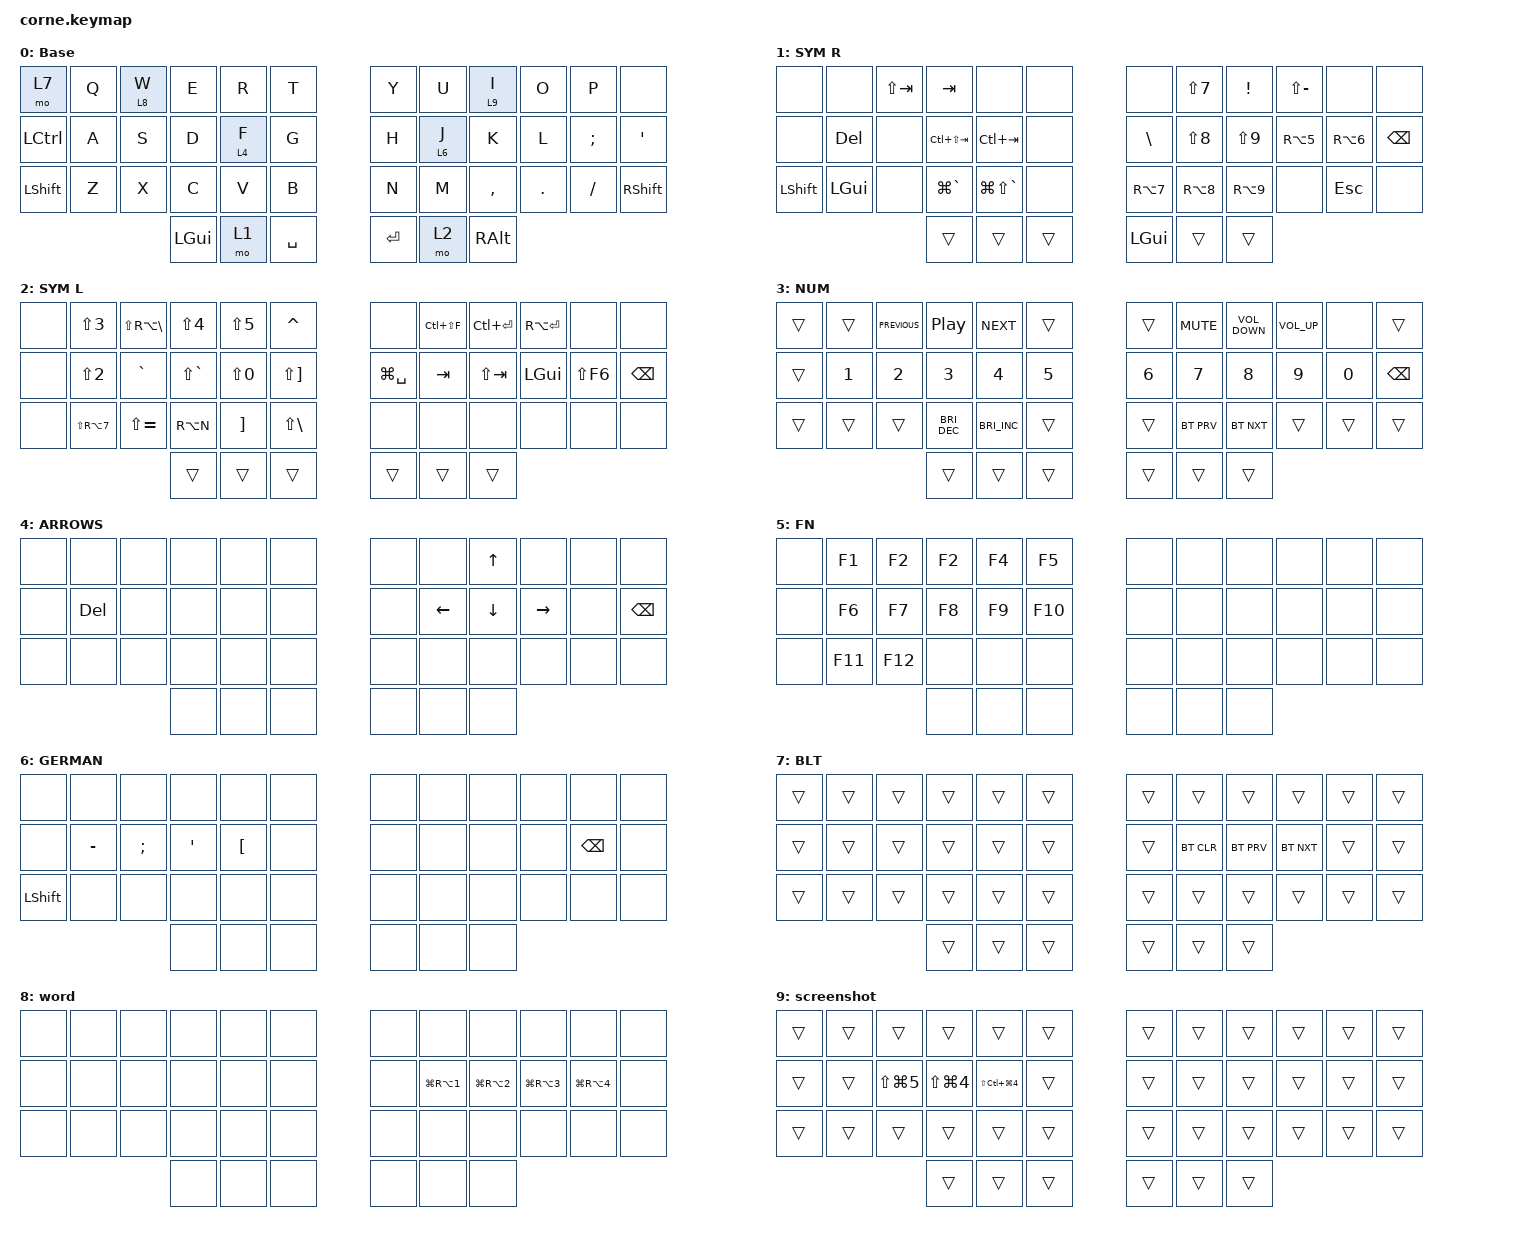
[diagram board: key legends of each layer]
/*
 * Copyright (c) 2020 The ZMK Contributors
 *
 * SPDX-License-Identifier: MIT
 */

#include <behaviors.dtsi>
#include <dt-bindings/zmk/bt.h>
#include <dt-bindings/zmk/keys.h>

/ {
    combos {
        compatible = "zmk,combos";

        functionkeys {
            bindings = <&mo 5>;
            key-positions = <19 20>;
        };

        option_save {
            bindings = <&kp LC(S)>;
            key-positions = <14 15>;
        };
    };

    keymap {
        compatible = "zmk,keymap";

        base {
            // -----------------------------------------------------------------------------------------
            // |  TAB |  Q  |  W  |  E  |  R  |  T  |   |  Y  |  U   |  I  |  O  |  P  | BKSP |
            // | CTRL |  A  |  S  |  D  |  F  |  G  |   |  H  |  J   |  K  |  L  |  ;  |  '   |
            // | SHFT |  Z  |  X  |  C  |  V  |  B  |   |  N  |  M   |  ,  |  .  |  /  | ESC  |
            //                    | GUI | LWR | SPC |   | ENT | RSE  | ALT |

            bindings = <
&mo 7      &kp Q  &lt 8 W  &kp E     &kp R    &kp T        &kp Y    &kp U    &lt 9 I    &kp O    &kp P      &none
&kp LCTRL  &kp A  &kp S    &kp D     &lt 4 F  &kp G        &kp H    &lt 6 J  &kp K      &kp L    &kp SEMI   &kp SQT
&kp LSHFT  &kp Z  &kp X    &kp C     &kp V    &kp B        &kp N    &kp M    &kp COMMA  &kp DOT  &kp SLASH  &kp RIGHT_SHIFT
                           &kp LGUI  &mo 1    &kp SPACE    &kp RET  &mo 2    &kp RALT
            >;

            label = "Base";
        };

        symr {
            bindings = <
&none           &none         &kp LS(TAB)  &kp TAB          &none              &none     &none          &kp LS(N7)  &kp EXCLAMATION  &kp LS(MINUS)  &none             &none
&none           &kp DELETE    &none        &kp LC(LS(TAB))  &kp LC(TAB)        &none     &kp BACKSLASH  &kp LS(N8)  &kp LS(N9)       &kp RA(N5)     &kp RA(NUMBER_6)  &kp BACKSPACE
&kp LEFT_SHIFT  &kp LEFT_GUI  &none        &kp LG(GRAVE)    &kp LG(LS(GRAVE))  &none     &kp RA(N7)     &kp RA(N8)  &kp RA(N9)       &none          &kp ESCAPE        &none
                                           &trans           &trans             &trans    &kp LEFT_GUI   &trans      &trans
            >;

            label = "SYM R";
        };

        syml {
            bindings = <
&none  &kp LS(NUMBER_3)  &kp LS(RA(BACKSLASH))  &kp LS(NUMBER_4)  &kp LS(N5)         &kp CARET                &none          &kp LC(LS(F))  &kp LC(ENTER)  &kp RA(ENTER)  &none       &none
&none  &kp LS(NUMBER_2)  &kp GRAVE              &kp LS(GRAVE)     &kp LS(N0)         &kp LS(RIGHT_BRACKET)    &kp LG(SPACE)  &kp TAB        &kp LS(TAB)    &kp LEFT_GUI   &kp LS(F6)  &kp BACKSPACE
&none  &kp LS(RA(N7))    &kp LS(EQUAL)          &kp RA(N)         &kp RIGHT_BRACKET  &kp LS(BACKSLASH)        &none          &none          &none          &none          &none       &none
                                                &trans            &trans             &trans                   &trans         &trans         &trans
            >;

            label = "SYM L";
        };

        number {
            bindings = <
&trans  &trans  &kp C_PREVIOUS  &kp C_PLAY_PAUSE  &kp C_NEXT     &trans    &trans  &kp K_MUTE  &kp C_VOLUME_DOWN  &kp C_VOLUME_UP  &none   &trans
&trans  &kp N1  &kp N2          &kp N3            &kp N4         &kp N5    &kp N6  &kp N7      &kp N8             &kp N9           &kp N0  &kp BACKSPACE
&trans  &trans  &trans          &kp C_BRI_DEC     &kp C_BRI_INC  &trans    &trans  &bt BT_PRV  &bt BT_NXT         &trans           &trans  &trans
                                &trans            &trans         &trans    &trans  &trans      &trans
            >;

            label = "NUM";
        };

        arrows {
            bindings = <
&none  &none       &none  &none  &none  &none    &none  &none           &kp UP_ARROW    &none            &none  &none
&none  &kp DELETE  &none  &none  &none  &none    &none  &kp LEFT_ARROW  &kp DOWN_ARROW  &kp RIGHT_ARROW  &none  &kp BACKSPACE
&none  &none       &none  &none  &none  &none    &none  &none           &none           &none            &none  &none
                          &none  &none  &none    &none  &none           &none
            >;

            label = "ARROWS";
        };

        FN {
            bindings = <
&none  &kp F1   &kp F2   &kp F2  &kp F4  &kp F5     &none  &none  &none  &none  &none  &none
&none  &kp F6   &kp F7   &kp F8  &kp F9  &kp F10    &none  &none  &none  &none  &none  &none
&none  &kp F11  &kp F12  &none   &none   &none      &none  &none  &none  &none  &none  &none
                         &none   &none   &none      &none  &none  &none
            >;

            label = "FN";
        };

        german {
            bindings = <
&none           &none      &none          &none    &none             &none    &none  &none  &none  &none  &none          &none
&none           &kp MINUS  &kp SEMICOLON  &kp SQT  &kp LEFT_BRACKET  &none    &none  &none  &none  &none  &kp BACKSPACE  &none
&kp LEFT_SHIFT  &none      &none          &none    &none             &none    &none  &none  &none  &none  &none          &none
                                          &none    &none             &none    &none  &none  &none
            >;

            label = "GERMAN";
        };

        blt {
            bindings = <
&trans  &trans  &trans  &trans  &trans  &trans    &trans  &trans      &trans      &trans      &trans  &trans
&trans  &trans  &trans  &trans  &trans  &trans    &trans  &bt BT_CLR  &bt BT_PRV  &bt BT_NXT  &trans  &trans
&trans  &trans  &trans  &trans  &trans  &trans    &trans  &trans      &trans      &trans      &trans  &trans
                        &trans  &trans  &trans    &trans  &trans      &trans
            >;

            label = "BLT";
        };

        word {
            bindings = <
&none  &none  &none  &none  &none  &none    &none  &none                 &none                 &none                 &none                 &none
&none  &none  &none  &none  &none  &none    &none  &kp LG(RA(NUMBER_1))  &kp LG(RA(NUMBER_2))  &kp LG(RA(NUMBER_3))  &kp LG(RA(NUMBER_4))  &none
&none  &none  &none  &none  &none  &none    &none  &none                 &none                 &none                 &none                 &none
                     &none  &none  &none    &none  &none                 &none
            >;
        };

        screenshot {
            bindings = <
&trans  &trans  &trans          &trans                &trans                    &trans    &trans  &trans  &trans  &trans  &trans  &trans
&trans  &trans  &kp LS(LG(N5))  &kp LS(LG(NUMBER_4))  &kp LS(LC(LG(NUMBER_4)))  &trans    &trans  &trans  &trans  &trans  &trans  &trans
&trans  &trans  &trans          &trans                &trans                    &trans    &trans  &trans  &trans  &trans  &trans  &trans
                                &trans                &trans                    &trans    &trans  &trans  &trans
            >;
        };
    };

    conditional_layers {
        compatible = "zmk,conditional-layers";

        tri_layer {
            if-layers = <1 2>;
            then-layer = <3>;
        };
    };
};
